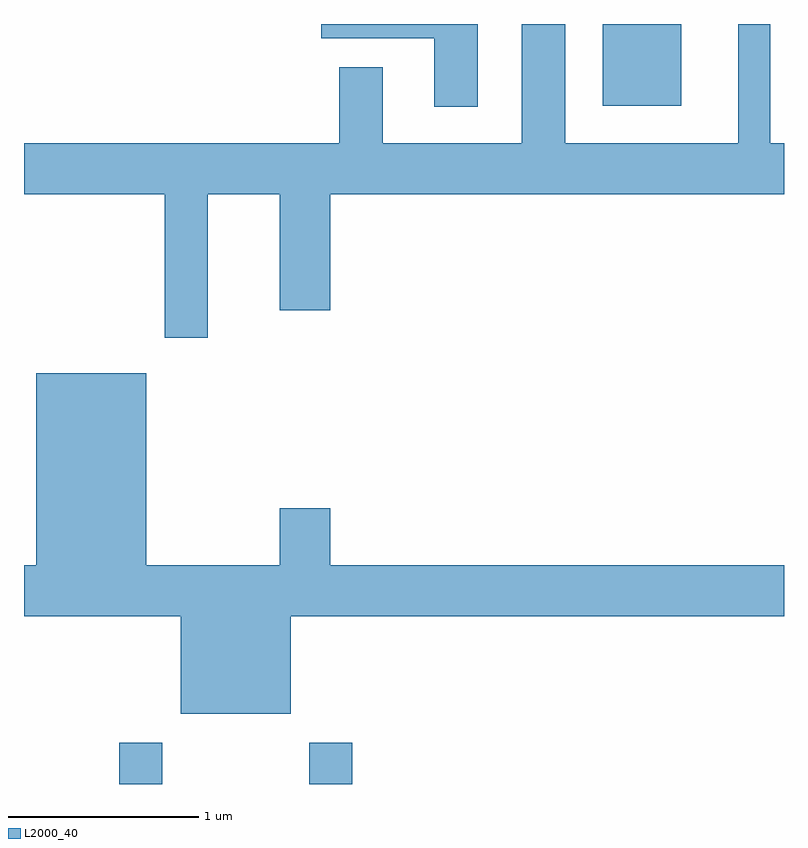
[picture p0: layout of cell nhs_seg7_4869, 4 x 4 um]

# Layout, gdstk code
import gdstk
lib = gdstk.Library(unit=1e-6, precision=1e-09)
def R(c, l, rs):  # rectangles x0, y0, x1, y1
    for r in rs: c.add(gdstk.rectangle(r[:2], r[2:], *l))
def P(c, l, *ps):  # polygons
    for p in ps: c.add(gdstk.Polygon(p, *l))
L2000_40 = (2000, 40)

nhs_seg7_4869 = lib.new_cell('nhs_seg7_4869')
R(nhs_seg7_4869, L2000_40, [(334.111,1782.252,334.339,1782.469), (335.111,1782.252,335.339,1782.469), (336.656,1785.821,337.069,1786.252)])
P(nhs_seg7_4869, L2000_40, [(334.579,1785.356),(334.956,1785.356),(334.956,1784.746),(335.224,1784.746),(335.224,1785.356),(337.611,1785.356),(337.611,1785.624),(337.539,1785.624),(337.539,1786.252),(337.371,1786.252),(337.371,1785.624),(336.459,1785.624),(336.459,1786.252),(336.231,1786.252),(336.231,1785.624),(335.499,1785.624),(335.499,1786.024),(335.271,1786.024),(335.271,1785.624),(333.611,1785.624),(333.611,1785.356),(334.351,1785.356),(334.351,1784.601),(334.579,1784.601)],
  [(335.999,1786.252),(335.176,1786.252),(335.176,1786.176),(335.771,1786.176),(335.771,1785.816),(335.999,1785.816)],
  [(335.014,1783.136),(337.611,1783.136),(337.611,1783.404),(335.224,1783.404),(335.224,1783.704),(334.956,1783.704),(334.956,1783.404),(334.254,1783.404),(334.254,1784.414),(333.676,1784.414),(333.676,1783.404),(333.611,1783.404),(333.611,1783.136),(334.436,1783.136),(334.436,1782.621),(335.014,1782.621)])

lib.write_gds('nhs_seg7_4869.gds')
